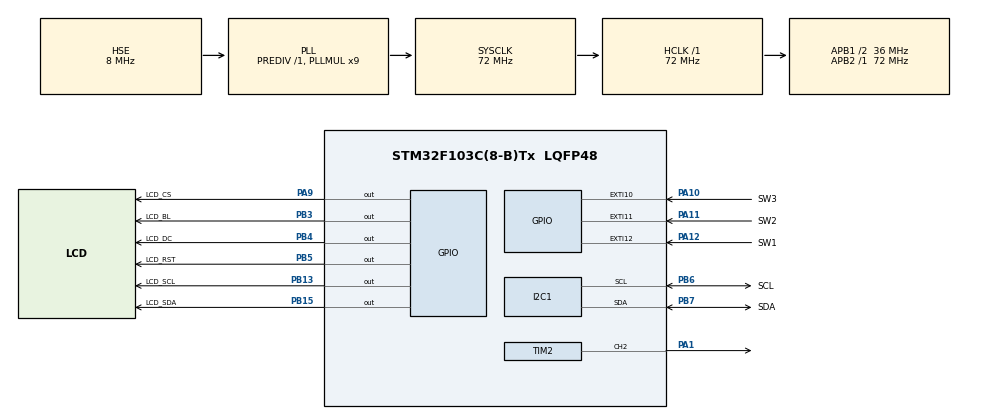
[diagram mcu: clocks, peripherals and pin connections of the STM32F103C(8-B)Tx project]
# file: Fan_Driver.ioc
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Mcu.Family=STM32F1
Mcu.Name=STM32F103C(8-B)Tx
Mcu.Package=LQFP48
NVIC.EXTI15_10_IRQn=true\:15\:0\:true\:false\:true\:true\:true\:true
NVIC.PriorityGroup=NVIC_PRIORITYGROUP_4
PA1.Signal=S_TIM2_CH2
PA10.GPIO_Label=SW3
PA10.GPIO_ModeDefaultEXTI=GPIO_MODE_IT_FALLING
PA10.GPIO_PuPd=GPIO_PULLUP
PA10.Signal=GPXTI10
PA11.GPIO_Label=SW2
PA11.GPIO_ModeDefaultEXTI=GPIO_MODE_IT_FALLING
PA11.GPIO_PuPd=GPIO_PULLUP
PA11.Signal=GPXTI11
PA12.GPIO_Label=SW1
PA12.GPIO_ModeDefaultEXTI=GPIO_MODE_IT_FALLING
PA12.GPIO_PuPd=GPIO_PULLUP
PA12.Signal=GPXTI12
PA13.Mode=Serial_Wire
PA13.Signal=SYS_JTMS-SWDIO
PA14.Mode=Serial_Wire
PA14.Signal=SYS_JTCK-SWCLK
PA9.GPIO_Label=LCD_CS
PA9.GPIO_PuPd=GPIO_PULLDOWN
PA9.GPIO_Speed=GPIO_SPEED_FREQ_HIGH
PA9.PinState=GPIO_PIN_RESET
PA9.Signal=GPIO_Output
PB13.GPIO_Label=LCD_SCL
PB13.GPIO_PuPd=GPIO_PULLDOWN
PB13.GPIO_Speed=GPIO_SPEED_FREQ_HIGH
PB13.PinState=GPIO_PIN_SET
PB13.Signal=GPIO_Output
PB15.GPIO_Label=LCD_SDA
PB15.GPIO_PuPd=GPIO_PULLDOWN
PB15.GPIO_Speed=GPIO_SPEED_FREQ_HIGH
PB15.PinState=GPIO_PIN_SET
PB15.Signal=GPIO_Output
PB3.GPIO_Label=LCD_BL
PB3.GPIO_PuPd=GPIO_PULLDOWN
PB3.GPIO_Speed=GPIO_SPEED_FREQ_HIGH
PB3.PinState=GPIO_PIN_SET
PB3.Signal=GPIO_Output
PB4.GPIO_Label=LCD_DC
PB4.GPIO_PuPd=GPIO_PULLDOWN
PB4.GPIO_Speed=GPIO_SPEED_FREQ_HIGH
PB4.PinState=GPIO_PIN_SET
PB4.Signal=GPIO_Output
PB5.GPIO_Label=LCD_RST
PB5.GPIO_PuPd=GPIO_PULLDOWN
PB5.GPIO_Speed=GPIO_SPEED_FREQ_HIGH
PB5.PinState=GPIO_PIN_SET
PB5.Signal=GPIO_Output
PB6.GPIO_Label=SCL
PB6.Mode=I2C
PB6.Signal=I2C1_SCL
PB7.GPIO_Label=SDA
PB7.Mode=I2C
PB7.Signal=I2C1_SDA
PD0-OSC_IN.Mode=HSE-External-Oscillator
PD0-OSC_IN.Signal=RCC_OSC_IN
PD1-OSC_OUT.Mode=HSE-External-Oscillator
PD1-OSC_OUT.Signal=RCC_OSC_OUT
ProjectManager.HeapSize=0x200
ProjectManager.StackSize=0x400
ProjectManager.TargetToolchain=STM32CubeIDE
RCC.AHBFreq_Value=72000000
RCC.APB1CLKDivider=RCC_HCLK_DIV2
RCC.APB1Freq_Value=36000000
RCC.APB1TimFreq_Value=72000000
RCC.APB2Freq_Value=72000000
RCC.APB2TimFreq_Value=72000000
RCC.HCLKFreq_Value=72000000
RCC.PLLMUL=RCC_PLL_MUL9
RCC.PLLSourceVirtual=RCC_PLLSOURCE_HSE
RCC.SYSCLKFreq_VALUE=72000000
RCC.SYSCLKSource=RCC_SYSCLKSOURCE_PLLCLK
RCC.USBFreq_Value=72000000
SH.S_TIM2_CH2.0=TIM2_CH2,PWM Generation2 CH2
TIM2.AutoReloadPreload=TIM_AUTORELOAD_PRELOAD_ENABLE
TIM2.Channel-PWM\ Generation2\ CH2=TIM_CHANNEL_2
TIM2.OC2Preload_PWM=ENABLE
TIM2.OCMode_PWM-PWM\ Generation2\ CH2=TIM_OCMODE_PWM1
TIM2.OCPolarity_2=TIM_OCPOLARITY_HIGH
TIM2.Period=499
TIM2.Prescaler=71
TIM2.Pulse-PWM\ Generation2\ CH2=0
TIM2.TIM_MasterOutputTrigger=TIM_TRGO_RESET
VP_TIM2_VS_ClockSourceINT.Mode=Internal
board=custom

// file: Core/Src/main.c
/* USER CODE BEGIN Header */
/**
  ******************************************************************************
  * @file           : main.c
  * @brief          : Main program body
  ******************************************************************************
  * @attention
  *
  * Copyright (c) 2024 STMicroelectronics.
  * All rights reserved.
  *
  * This software is licensed under terms that can be found in the LICENSE file
  * in the root directory of this software component.
  * If no LICENSE file comes with this software, it is provided AS-IS.
  *
  ******************************************************************************
  */
/* USER CODE END Header */
#include "main.h"
#include "i2c.h"
#include "tim.h"
#include "gpio.h"

/* USER CODE BEGIN Includes */
#include "Switch.h"
#include "SPI/lcd.h"
#include "SPI/image.h"
#include "I2C/INA219.h"
//#include "lcdfont.h"
/* USER CODE END Includes */

void SystemClock_Config(void);

/* USER CODE BEGIN 0 */
void HAL_GPIO_EXTI_Callback(uint16_t GPIO_Pin)
{
	if (SW1_Pin == GPIO_Pin)
	{
		Fan_Fast(&htim2, SW1_Pin);
	}
	else if (SW2_Pin == GPIO_Pin)
	{
		Fan_Slow(&htim2, SW2_Pin);
	}
}

/* USER CODE END 0 */

int main(void)
{

  /* MCU Configuration--------------------------------------------------------*/

  /* Reset of all peripherals, Initializes the Flash interface and the Systick. */
  HAL_Init();

  /* Configure the system clock */
  SystemClock_Config();

  /* Initialize all configured peripherals */
  MX_GPIO_Init();
  MX_TIM2_Init();
  MX_I2C1_Init();
  /* USER CODE BEGIN 2 */
  Fan_Init(&htim2);
  LCD_BLK_Set();
  LCD_SCLK_Set();
  LCD_DC_Set();
  LCD_Init();
  LCD_clear();
  HAL_Delay(50);

  INA219_t ina219;
  uint16_t vbus, vshunt, current;

  /* USER CODE END 2 */

  /* Infinite loop */
  /* USER CODE BEGIN WHILE */
  while (1)
  {
	  LCD_ShowPicture(gImage_Fan1, 25, 2);
	  HAL_Delay(1);
	  LCD_ShowPicture(gImage_Fan2, 25, 2);
	  HAL_Delay(1);
//	  LCD_ShowPicture(gImage_Fan3, 25, 2);
//	  HAL_Delay(1);

	  INA219_Init(&ina219, &hi2c1, INA219_ADDRESS);
//	  INA219_Init(&ina219, INA219_ADDRESS);
	  vbus = INA219_ReadBusVoltage(&ina219);
	  vshunt = INA219_ReadShuntVoltage_mV(&ina219);
	  current = INA219_ReadCurrent_mA(&ina219);

	  uint8_t *v = "V:";
	  LCD_ShowString(2, 90, v, WHITE, BLACK, 24, 0);
	  LCD_ShowFloatNum1(30, 90, vbus, 4,WHITE, BLACK, 24);
	  uint8_t *mv = "mV:";
	  LCD_ShowString(2, 120, mv, WHITE, BLACK, 24, 0);
	  LCD_ShowFloatNum1(30, 120, vshunt, 5,WHITE, BLACK, 24);
	  uint8_t *a = "mA:";
	  LCD_ShowString(2, 150, a, WHITE, BLACK, 24, 0);
	  LCD_ShowFloatNum1(30, 150, current, 5,WHITE, BLACK, 24);
	  HAL_Delay(20);
    /* USER CODE END WHILE */

  }
}

void SystemClock_Config(void)
{
  RCC_OscInitTypeDef RCC_OscInitStruct = {0};
  RCC_ClkInitTypeDef RCC_ClkInitStruct = {0};

  /** Initializes the RCC Oscillators according to the specified parameters
  * in the RCC_OscInitTypeDef structure.
  */
  RCC_OscInitStruct.OscillatorType = RCC_OSCILLATORTYPE_HSE;
  RCC_OscInitStruct.HSEState = RCC_HSE_ON;
  RCC_OscInitStruct.HSEPredivValue = RCC_HSE_PREDIV_DIV1;
  RCC_OscInitStruct.HSIState = RCC_HSI_ON;
  RCC_OscInitStruct.PLL.PLLState = RCC_PLL_ON;
  RCC_OscInitStruct.PLL.PLLSource = RCC_PLLSOURCE_HSE;
  RCC_OscInitStruct.PLL.PLLMUL = RCC_PLL_MUL9;
  if (HAL_RCC_OscConfig(&RCC_OscInitStruct) != HAL_OK)
  {
    Error_Handler();
  }

  /** Initializes the CPU, AHB and APB buses clocks
  */
  RCC_ClkInitStruct.ClockType = RCC_CLOCKTYPE_HCLK|RCC_CLOCKTYPE_SYSCLK
                              |RCC_CLOCKTYPE_PCLK1|RCC_CLOCKTYPE_PCLK2;
  RCC_ClkInitStruct.SYSCLKSource = RCC_SYSCLKSOURCE_PLLCLK;
  RCC_ClkInitStruct.AHBCLKDivider = RCC_SYSCLK_DIV1;
  RCC_ClkInitStruct.APB1CLKDivider = RCC_HCLK_DIV2;
  RCC_ClkInitStruct.APB2CLKDivider = RCC_HCLK_DIV1;

  if (HAL_RCC_ClockConfig(&RCC_ClkInitStruct, FLASH_LATENCY_2) != HAL_OK)
  {
    Error_Handler();
  }
}

void Error_Handler(void)
{
  __disable_irq();
  while (1)
  {
  }
}
